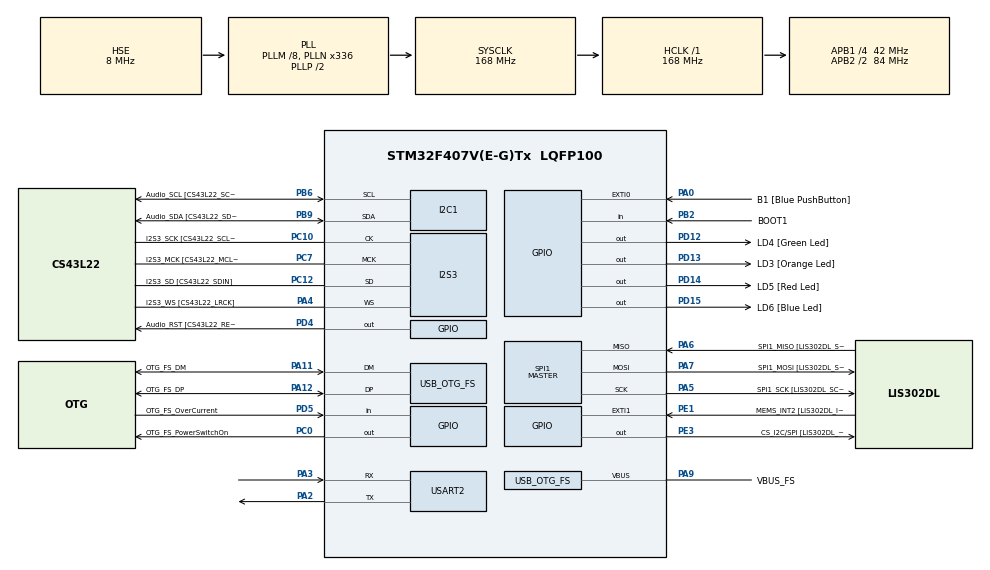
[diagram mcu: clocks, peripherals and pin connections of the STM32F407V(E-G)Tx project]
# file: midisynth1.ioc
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PA11.GPIO_Speed=GPIO_SPEED_FREQ_LOW
Dma.SPI3_TX.0.FIFOMode=DMA_FIFOMODE_ENABLE
Dma.SPI3_TX.0.Priority=DMA_PRIORITY_LOW
PD12.GPIO_Label=LD4 [Green Led]
PH0-OSC_IN.Signal=RCC_OSC_IN
PC10.GPIO_PuPd=GPIO_NOPULL
SPI1.VirtualType=VM_MASTER
PB10.GPIO_PuPd=GPIO_NOPULL
PA10.GPIO_PuPd=GPIO_NOPULL
PC12.Signal=I2S3_SD
PA14.GPIO_Label=SWCLK
PA6.GPIO_Label=SPI1_MISO [LIS302DL_SDO]
PB6.GPIO_Label=Audio_SCL [CS43L22_SCL]
PC15-OSC32_OUT.GPIO_Label=PC15-OSC32_OUT
PC3.GPIO_Speed=GPIO_SPEED_FREQ_LOW
RCC.SYSCLKSource=RCC_SYSCLKSOURCE_PLLCLK
PA6.GPIO_Mode=GPIO_MODE_AF_PP
Dma.SPI3_TX.0.FIFOThreshold=DMA_FIFO_THRESHOLD_HALFFULL
PD14.GPIO_Speed=GPIO_SPEED_FREQ_LOW
PA4.Mode=Half_Duplex_Master
SPI1.Direction=SPI_DIRECTION_2LINES
I2S3.AudioFreq-Half_Duplex_Master=I2S_AUDIOFREQ_96K
PD4.Signal=GPIO_Output
RCC.APB2TimFreq_Value=168000000
PB6.Signal=I2C1_SCL
PC7.Signal=I2S3_MCK
PB6.Mode=I2C
PC3.Signal=I2S2_SD
PE1.Signal=GPXTI1
Dma.SPI3_TX.0.Direction=DMA_MEMORY_TO_PERIPH
USB_OTG_FS.phy_itface=HCD_PHY_EMBEDDED
PB2.Signal=GPIO_Input
I2S3.ErrorAudioFreq=-2.34 %
PA5.GPIO_PuPd=GPIO_NOPULL
I2S3.ErrorAudioFreq-Half_Duplex_Master=0.8 %
PD5.GPIO_Mode=GPIO_MODE_INPUT
PD14.GPIO_PuPd=GPIO_NOPULL
PB2.GPIO_PuPd=GPIO_NOPULL
SPI1.CalculateBaudRate-Full_Duplex_Master=42.0 MBits/s
Mcu.Package=LQFP100
PB9.Signal=I2C1_SDA
PD12.Signal=GPIO_Output
PB9.GPIO_PuPd=GPIO_NOPULL
PA10.Signal=USB_OTG_FS_ID
RCC.APB2CLKDivider=RCC_HCLK_DIV2
RCC.APB1TimFreq_Value=84000000
PC12.GPIO_PuPd=GPIO_NOPULL
PA6.GPIO_Speed=GPIO_SPEED_FREQ_LOW
PA12.GPIO_PuPd=GPIO_NOPULL
PA4.GPIO_Label=I2S3_WS [CS43L22_LRCK]
PD15.Signal=GPIO_Output
PC0.PinState=GPIO_PIN_SET
PA5.Mode=Full_Duplex_Master
I2S3.FullDuplexMode=I2S_FULLDUPLEXMODE_DISABLE
PA9.GPIO_Label=VBUS_FS
PB6.GPIO_PuPd=GPIO_NOPULL
PA11.GPIO_Label=OTG_FS_DM
PE1.GPIO_PuPd=GPIO_NOPULL
PC0.Signal=GPIO_Output
RCC.APB1CLKDivider=RCC_HCLK_DIV4
PC14-OSC32_IN.Signal=RCC_OSC32_IN
PA0-WKUP.GPIO_ModeDefaultEXTI=GPIO_MODE_EVT_RISING
PA0-WKUP.GPIO_Label=B1 [Blue PushButton]
PA0-WKUP.Signal=GPXTI0
USB_HOST0.BSP.STBoard=false
PA3.Mode=Asynchronous
PC10.GPIO_Mode=GPIO_MODE_AF_PP
PB10.GPIO_Mode=GPIO_MODE_AF_PP
PA9.Signal=USB_OTG_FS_VBUS
I2S3.VirtualMode=I2S_MODE_MASTER
Dma.SPI3_TX.0.PeriphInc=DMA_PINC_DISABLE
PC7.GPIO_PuPd=GPIO_NOPULL
PB10.Signal=I2S2_CK
PA5.Signal=SPI1_SCK
I2S3.AudioFreq=I2S_AUDIOFREQ_48K
PC12.Mode=Half_Duplex_Master
PE1.GPIO_Label=MEMS_INT2 [LIS302DL_INT2]
USB_HOST.VirtualModeFS=Audio
PA7.GPIO_Speed=GPIO_SPEED_FREQ_LOW
PB2.GPIO_Mode=GPIO_MODE_INPUT
SPI1.Mode=SPI_MODE_MASTER
PD4.GPIO_Speed=GPIO_SPEED_FREQ_LOW
PE3.GPIO_PuPd=GPIO_NOPULL
PH1-OSC_OUT.GPIO_Label=PH1-OSC_OUT
Dma.SPI3_TX.0.Instance=DMA1_Stream5
PA13.Mode=Serial_Wire
PC7.GPIO_Label=I2S3_MCK [CS43L22_MCLK]
PA4.Signal=I2S3_WS
PC12.GPIO_Mode=GPIO_MODE_AF_PP
PA5.GPIO_Label=SPI1_SCK [LIS302DL_SCL/SPC]
Dma.SPI3_TX.0.Mode=DMA_CIRCULAR
PE3.GPIO_Speed=GPIO_SPEED_FREQ_LOW
PC12.GPIO_Label=I2S3_SD [CS43L22_SDIN]
PA11.Signal=USB_OTG_FS_DM
ProjectManager.HeapSize=0x200
NVIC.PriorityGroup=NVIC_PRIORITYGROUP_0
PE3.Signal=GPIO_Output
PC3.GPIO_Label=PDM_OUT [MP45DT02_DOUT]
PA0-WKUP.GPIO_PuPd=GPIO_NOPULL
I2S3.Instance=SPI$Index
PB6.GPIO_Speed=GPIO_SPEED_FREQ_LOW
SPI1.BaudRatePrescaler-Full_Duplex_Master=SPI_BAUDRATEPRESCALER_2
USB_HOST0.BSP.mode=Output
Mcu.Family=STM32F4
PC3.GPIO_Mode=GPIO_MODE_AF_PP
Dma.SPI3_TX.0.MemInc=DMA_MINC_ENABLE
PA6.Mode=Full_Duplex_Master
RCC.CortexFreq_Value=168000000
PB10.GPIO_Speed=GPIO_SPEED_FREQ_LOW
PB6.GPIO_Mode=GPIO_MODE_AF_OD
PD15.GPIO_Speed=GPIO_SPEED_FREQ_LOW
PC10.Signal=I2S3_CK
PA7.GPIO_Mode=GPIO_MODE_AF_PP
PC0.GPIO_Label=OTG_FS_PowerSwitchOn
PA11.Mode=Host_Only
PC10.GPIO_Speed=GPIO_SPEED_FREQ_LOW
PA11.GPIO_PuPd=GPIO_NOPULL
Dma.SPI3_TX.0.PeriphDataAlignment=DMA_PDATAALIGN_HALFWORD
ProjectManager.StackSize=0x400
SPI1.Mode-Full_Duplex_Master=SPI_MODE_MASTER
PD13.Signal=GPIO_Output
PA12.Signal=USB_OTG_FS_DP
RCC.HCLKFreq_Value=168000000
USB_HOST0.BSP.ip=GPIO
RCC.AHBFreq_Value=168000000
PH0-OSC_IN.Mode=HSE-External-Oscillator
PH0-OSC_IN.GPIO_Label=PH0-OSC_IN
PA9.GPIO_Mode=GPIO_MODE_INPUT
RCC.HSE_VALUE=8000000
PA4.GPIO_PuPd=GPIO_NOPULL
PA4.GPIO_Speed=GPIO_SPEED_FREQ_LOW
PA6.GPIO_PuPd=GPIO_NOPULL
PC14-OSC32_IN.Mode=LSE-External-Oscillator
PA14.Mode=Serial_Wire
PA10.GPIO_Label=OTG_FS_ID
PC7.GPIO_Mode=GPIO_MODE_AF_PP
USB_HOST0.BSP.i2creg=0
Dma.SPI3_TX.0.MemDataAlignment=DMA_MDATAALIGN_HALFWORD
PH1-OSC_OUT.Mode=HSE-External-Oscillator
USB_HOST0.BSP.i2caddr=0
PD13.GPIO_Label=LD3 [Orange Led]
PA6.Signal=SPI1_MISO
USART2.VirtualMode=VM_ASYNC
PD5.GPIO_Label=OTG_FS_OverCurrent
NVIC.OTG_FS_IRQn=true\:0\:0\:false\:false\:true\:true\:true
PD15.GPIO_PuPd=GPIO_NOPULL
VP_USB_HOST_VS_USB_HOST_AUDIO_FS.Mode=AUDIO_FS
USB_OTG_FS.VirtualMode=Host_Only
PA10.GPIO_Speed=GPIO_SPEED_FREQ_LOW
USB_HOST0.BSP.name=Drive_VBUS_FS
PB9.GPIO_Speed=GPIO_SPEED_FREQ_LOW
PC14-OSC32_IN.GPIO_Label=PC14-OSC32_IN
PC0.GPIO_PuPd=GPIO_NOPULL
Dma.Request0=SPI3_TX
PA12.GPIO_Speed=GPIO_SPEED_FREQ_LOW
PA3.Signal=USART2_RX
PB3.GPIO_Label=SWO
PC15-OSC32_OUT.Mode=LSE-External-Oscillator
PD12.GPIO_Speed=GPIO_SPEED_FREQ_LOW
PD15.GPIO_Label=LD6 [Blue Led]
PA7.Mode=Full_Duplex_Master
PB9.GPIO_Label=Audio_SDA [CS43L22_SDA]
PC10.GPIO_Label=I2S3_SCK [CS43L22_SCLK]
USB_HOST0.BSP.solution=PC0
PC10.Mode=Half_Duplex_Master
USB_HOST.BSP.number=1
PD5.Signal=GPIO_Input
PE1.GPIO_ModeDefaultEXTI=GPIO_MODE_EVT_RISING
PA9.GPIO_PuPd=GPIO_NOPULL
PA12.GPIO_Label=OTG_FS_DP
PA10.GPIO_Mode=GPIO_MODE_AF_PP
PA13.Signal=SYS_JTMS-SWDIO
Dma.SPI3_TX.0.PeriphBurst=DMA_PBURST_SINGLE
PD4.GPIO_PuPd=GPIO_NOPULL
PA9.Mode=Activate_VBUS
PC0.GPIO_Speed=GPIO_SPEED_FREQ_LOW
I2S3.RealAudioFreq-Half_Duplex_Master=96.774 KHz
ProjectManager.TargetToolchain=STM32CubeIDE
PB10.GPIO_Label=CLK_IN [MP45DT02_CLK]
NVIC.DMA1_Stream5_IRQn=true\:0\:0\:false\:false\:true\:false\:true
PB9.Mode=I2C
PC15-OSC32_OUT.Signal=RCC_OSC32_OUT
PA7.GPIO_PuPd=GPIO_NOPULL
board=STM32F407G-DISC1
PD13.GPIO_Speed=GPIO_SPEED_FREQ_LOW
PC7.GPIO_Speed=GPIO_SPEED_FREQ_LOW
RCC.VCOOutputFreq_Value=336000000
PB9.GPIO_Mode=GPIO_MODE_AF_OD
PA12.GPIO_Mode=GPIO_MODE_AF_PP
PA4.GPIO_Mode=GPIO_MODE_AF_PP
RCC.APB2Freq_Value=84000000
USB_HOST0.BSP.api=Unknown
PD4.GPIO_Label=Audio_RST [CS43L22_RESET]
USB_HOST.USBH_HandleTypeDef-AUDIO_FS=hUsbHostFS
PH1-OSC_OUT.Signal=RCC_OSC_OUT
PD13.GPIO_PuPd=GPIO_NOPULL
PD5.GPIO_PuPd=GPIO_NOPULL
PD14.GPIO_Label=LD5 [Red Led]
Mcu.Name=STM32F407V(E-G)Tx
PA2.Signal=USART2_TX
PA13.GPIO_Label=SWDIO
PD14.Signal=GPIO_Output
RCC.48MHZClocksFreq_Value=48000000
PB3.Signal=SYS_JTDO-SWO
RCC.SYSCLKFreq_VALUE=168000000
PA7.GPIO_Label=SPI1_MOSI [LIS302DL_SDA/SDI/SDO]
PA12.Mode=Host_Only
PA14.Signal=SYS_JTCK-SWCLK
PB2.GPIO_Label=BOOT1
RCC.HSI_VALUE=16000000
PA5.GPIO_Speed=GPIO_SPEED_FREQ_LOW
RCC.PLLQ=7
I2S3.RealAudioFreq=46.875 KHz
RCC.PLLM=8
RCC.PLLN=336
PA2.Mode=Asynchronous
PE3.GPIO_Label=CS_I2C/SPI [LIS302DL_CS_I2C/SPI]
Dma.SPI3_TX.0.MemBurst=DMA_MBURST_SINGLE
PC7.Mode=Master_Clock_Activated
PA11.GPIO_Mode=GPIO_MODE_AF_PP
RCC.APB1Freq_Value=42000000
PA5.GPIO_Mode=GPIO_MODE_AF_PP
PC12.GPIO_Speed=GPIO_SPEED_FREQ_LOW
PC3.GPIO_PuPd=GPIO_NOPULL
PD12.GPIO_PuPd=GPIO_NOPULL
PA7.Signal=SPI1_MOSI
USB_HOST0.BSP.instance=PC0

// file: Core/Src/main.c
/* USER CODE BEGIN Header */
/**
 *
 * Copyright (c) 2021 Roger Allen.  Some portions generated by
 * STMicroelectronics, see below.
 *
  ******************************************************************************
  * @file           : main.c
  * @brief          : Main program body
  ******************************************************************************
  * @attention
  *
  * <h2><center>&copy; Copyright (c) 2021 STMicroelectronics.
  * All rights reserved.</center></h2>
  *
  * This software component is licensed by ST under Ultimate Liberty license
  * SLA0044, the "License"; You may not use this file except in compliance with
  * the License. You may obtain a copy of the License at:
  *                             www.st.com/SLA0044
  *
  ******************************************************************************
  */
/* USER CODE END Header */
#include "main.h"
#include "usb_host.h"

/* USER CODE BEGIN Includes */

#include "midisynth.h"
#include "synth.h"
#include "../../Drivers/USBH_midi_class/Inc/usbh_MIDI.h"
#include <stdarg.h>
#include <stdio.h>
#include <string.h>

/* USER CODE END Includes */

I2C_HandleTypeDef hi2c1;

I2S_HandleTypeDef hi2s3;
DMA_HandleTypeDef hdma_spi3_tx;

SPI_HandleTypeDef hspi1;

UART_HandleTypeDef huart2;

/* USER CODE BEGIN PV */

extern USBH_HandleTypeDef hUsbHostFS;
extern ApplicationTypeDef Appli_state;
extern synth_state_t the_synth;

/* USER CODE END PV */

void SystemClock_Config(void);
static void MX_GPIO_Init(void);
static void MX_DMA_Init(void);
static void MX_I2C1_Init(void);
static void MX_I2S3_Init(void);
static void MX_SPI1_Init(void);
static void MX_USART2_UART_Init(void);
void MX_USB_HOST_Process(void);

/* USER CODE BEGIN PFP */

void update_state(void);

/* USER CODE END PFP */

/* USER CODE BEGIN 0 */

int __io_putchar(int ch) {
  HAL_UART_Transmit(&huart2, (uint8_t *)&ch, 1, 0xFFFF);
  return ch;
}

// Without syscall.c integrated, a customized _write function has to be defined:
int _write(int file, char *ptr, int len)
{
  for(int i = 0; i < len; i++){
    __io_putchar( *ptr++ );
  }
  return len;
}

// lots of "answers" & this seems like the only one that works
// via https://www.openstm32.org/forumthread5466
int _read (int file, char *ptr, int len)
{
  HAL_UART_Receive(&huart2,(uint8_t*)ptr++,1,0xffff);
  HAL_UART_Transmit(&huart2,(uint8_t *)(ptr-1),1,10);
  if (*(ptr-1) == '\r'){
    HAL_UART_Transmit(&huart2,(uint8_t *)"\n",1,10);
    *(ptr-1) = '\n';
  }
  return 1;
}

/* USER CODE END 0 */

int main(void)
{
  /* USER CODE BEGIN 1 */

  // keep track of the current note & led index
  ApplicationTypeDef last_Appli_state = Appli_state;
  /* USER CODE END 1 */

  /* MCU Configuration--------------------------------------------------------*/

  /* Reset of all peripherals, Initializes the Flash interface and the Systick. */
  HAL_Init();

  /* Configure the system clock */
  SystemClock_Config();

  /* Initialize all configured peripherals */
  MX_GPIO_Init();
  MX_DMA_Init();
  MX_I2C1_Init();
  MX_I2S3_Init();
  MX_SPI1_Init();
  MX_USB_HOST_Init();
  MX_USART2_UART_Init();
  /* USER CODE BEGIN 2 */

  // just once at the beginning, start the first reception

  printf("==============================================\r\n");
  synth_init();

  /* USER CODE END 2 */

  /* Infinite loop */
  while (1)
  {
    MX_USB_HOST_Process();

    /* USER CODE BEGIN 3 */
    if(last_Appli_state != Appli_state) {
      printf("USB Application State: %d\r\n", Appli_state);
      last_Appli_state = Appli_state;

      if(Appli_state == APPLICATION_READY) {
        start_midi();
        printf("Midisynth Started ----------------------------\r\n");
      }

    }
    update_state();

  }
  /* USER CODE END 3 */
}

void SystemClock_Config(void)
{
  RCC_OscInitTypeDef RCC_OscInitStruct = {0};
  RCC_ClkInitTypeDef RCC_ClkInitStruct = {0};
  RCC_PeriphCLKInitTypeDef PeriphClkInitStruct = {0};

  /** Configure the main internal regulator output voltage
  */
  __HAL_RCC_PWR_CLK_ENABLE();
  __HAL_PWR_VOLTAGESCALING_CONFIG(PWR_REGULATOR_VOLTAGE_SCALE1);
  /** Initializes the RCC Oscillators according to the specified parameters
  * in the RCC_OscInitTypeDef structure.
  */
  RCC_OscInitStruct.OscillatorType = RCC_OSCILLATORTYPE_HSE;
  RCC_OscInitStruct.HSEState = RCC_HSE_ON;
  RCC_OscInitStruct.PLL.PLLState = RCC_PLL_ON;
  RCC_OscInitStruct.PLL.PLLSource = RCC_PLLSOURCE_HSE;
  RCC_OscInitStruct.PLL.PLLM = 8;
  RCC_OscInitStruct.PLL.PLLN = 336;
  RCC_OscInitStruct.PLL.PLLP = RCC_PLLP_DIV2;
  RCC_OscInitStruct.PLL.PLLQ = 7;
  if (HAL_RCC_OscConfig(&RCC_OscInitStruct) != HAL_OK)
  {
    Error_Handler();
  }
  /** Initializes the CPU, AHB and APB buses clocks
  */
  RCC_ClkInitStruct.ClockType = RCC_CLOCKTYPE_HCLK|RCC_CLOCKTYPE_SYSCLK
                              |RCC_CLOCKTYPE_PCLK1|RCC_CLOCKTYPE_PCLK2;
  RCC_ClkInitStruct.SYSCLKSource = RCC_SYSCLKSOURCE_PLLCLK;
  RCC_ClkInitStruct.AHBCLKDivider = RCC_SYSCLK_DIV1;
  RCC_ClkInitStruct.APB1CLKDivider = RCC_HCLK_DIV4;
  RCC_ClkInitStruct.APB2CLKDivider = RCC_HCLK_DIV2;

  if (HAL_RCC_ClockConfig(&RCC_ClkInitStruct, FLASH_LATENCY_5) != HAL_OK)
  {
    Error_Handler();
  }
  PeriphClkInitStruct.PeriphClockSelection = RCC_PERIPHCLK_I2S;
  PeriphClkInitStruct.PLLI2S.PLLI2SN = 192;
  PeriphClkInitStruct.PLLI2S.PLLI2SR = 2;
  if (HAL_RCCEx_PeriphCLKConfig(&PeriphClkInitStruct) != HAL_OK)
  {
    Error_Handler();
  }
}

static void MX_I2C1_Init(void)
{

  hi2c1.Instance = I2C1;
  hi2c1.Init.ClockSpeed = 100000;
  hi2c1.Init.DutyCycle = I2C_DUTYCYCLE_2;
  hi2c1.Init.OwnAddress1 = 0;
  hi2c1.Init.AddressingMode = I2C_ADDRESSINGMODE_7BIT;
  hi2c1.Init.DualAddressMode = I2C_DUALADDRESS_DISABLE;
  hi2c1.Init.OwnAddress2 = 0;
  hi2c1.Init.GeneralCallMode = I2C_GENERALCALL_DISABLE;
  hi2c1.Init.NoStretchMode = I2C_NOSTRETCH_DISABLE;
  if (HAL_I2C_Init(&hi2c1) != HAL_OK)
  {
    Error_Handler();
  }

}

static void MX_I2S3_Init(void)
{

  hi2s3.Instance = SPI3;
  hi2s3.Init.Mode = I2S_MODE_MASTER_TX;
  hi2s3.Init.Standard = I2S_STANDARD_PHILIPS;
  hi2s3.Init.DataFormat = I2S_DATAFORMAT_16B;
  hi2s3.Init.MCLKOutput = I2S_MCLKOUTPUT_ENABLE;
  hi2s3.Init.AudioFreq = I2S_AUDIOFREQ_48K;
  hi2s3.Init.CPOL = I2S_CPOL_LOW;
  hi2s3.Init.ClockSource = I2S_CLOCK_PLL;
  hi2s3.Init.FullDuplexMode = I2S_FULLDUPLEXMODE_DISABLE;
  if (HAL_I2S_Init(&hi2s3) != HAL_OK)
  {
    Error_Handler();
  }

}

static void MX_SPI1_Init(void)
{

  /* SPI1 parameter configuration*/
  hspi1.Instance = SPI1;
  hspi1.Init.Mode = SPI_MODE_MASTER;
  hspi1.Init.Direction = SPI_DIRECTION_2LINES;
  hspi1.Init.DataSize = SPI_DATASIZE_8BIT;
  hspi1.Init.CLKPolarity = SPI_POLARITY_LOW;
  hspi1.Init.CLKPhase = SPI_PHASE_1EDGE;
  hspi1.Init.NSS = SPI_NSS_SOFT;
  hspi1.Init.BaudRatePrescaler = SPI_BAUDRATEPRESCALER_2;
  hspi1.Init.FirstBit = SPI_FIRSTBIT_MSB;
  hspi1.Init.TIMode = SPI_TIMODE_DISABLE;
  hspi1.Init.CRCCalculation = SPI_CRCCALCULATION_DISABLE;
  hspi1.Init.CRCPolynomial = 10;
  if (HAL_SPI_Init(&hspi1) != HAL_OK)
  {
    Error_Handler();
  }

}

static void MX_USART2_UART_Init(void)
{

  huart2.Instance = USART2;
  huart2.Init.BaudRate = 115200;
  huart2.Init.WordLength = UART_WORDLENGTH_8B;
  huart2.Init.StopBits = UART_STOPBITS_1;
  huart2.Init.Parity = UART_PARITY_NONE;
  huart2.Init.Mode = UART_MODE_TX_RX;
  huart2.Init.HwFlowCtl = UART_HWCONTROL_NONE;
  huart2.Init.OverSampling = UART_OVERSAMPLING_16;
  if (HAL_UART_Init(&huart2) != HAL_OK)
  {
    Error_Handler();
  }

}

static void MX_DMA_Init(void)
{

  /* DMA controller clock enable */
  __HAL_RCC_DMA1_CLK_ENABLE();

  /* DMA interrupt init */
  /* DMA1_Stream5_IRQn interrupt configuration */
  HAL_NVIC_SetPriority(DMA1_Stream5_IRQn, 0, 0);
  HAL_NVIC_EnableIRQ(DMA1_Stream5_IRQn);

}

static void MX_GPIO_Init(void)
{
  GPIO_InitTypeDef GPIO_InitStruct = {0};

  /* GPIO Ports Clock Enable */
  __HAL_RCC_GPIOE_CLK_ENABLE();
  __HAL_RCC_GPIOC_CLK_ENABLE();
  __HAL_RCC_GPIOH_CLK_ENABLE();
  __HAL_RCC_GPIOA_CLK_ENABLE();
  __HAL_RCC_GPIOB_CLK_ENABLE();
  __HAL_RCC_GPIOD_CLK_ENABLE();

  /*Configure GPIO pin Output Level */
  HAL_GPIO_WritePin(CS_I2C_SPI_GPIO_Port, CS_I2C_SPI_Pin, GPIO_PIN_RESET);

  /*Configure GPIO pin Output Level */
  HAL_GPIO_WritePin(OTG_FS_PowerSwitchOn_GPIO_Port, OTG_FS_PowerSwitchOn_Pin, GPIO_PIN_SET);

  /*Configure GPIO pin Output Level */
  HAL_GPIO_WritePin(GPIOD, LD4_Pin|LD3_Pin|LD5_Pin|LD6_Pin
                          |Audio_RST_Pin, GPIO_PIN_RESET);

  /*Configure GPIO pin : CS_I2C_SPI_Pin */
  GPIO_InitStruct.Pin = CS_I2C_SPI_Pin;
  GPIO_InitStruct.Mode = GPIO_MODE_OUTPUT_PP;
  GPIO_InitStruct.Pull = GPIO_NOPULL;
  GPIO_InitStruct.Speed = GPIO_SPEED_FREQ_LOW;
  HAL_GPIO_Init(CS_I2C_SPI_GPIO_Port, &GPIO_InitStruct);

  /*Configure GPIO pin : OTG_FS_PowerSwitchOn_Pin */
  GPIO_InitStruct.Pin = OTG_FS_PowerSwitchOn_Pin;
  GPIO_InitStruct.Mode = GPIO_MODE_OUTPUT_PP;
  GPIO_InitStruct.Pull = GPIO_NOPULL;
  GPIO_InitStruct.Speed = GPIO_SPEED_FREQ_LOW;
  HAL_GPIO_Init(OTG_FS_PowerSwitchOn_GPIO_Port, &GPIO_InitStruct);

  /*Configure GPIO pin : PDM_OUT_Pin */
  GPIO_InitStruct.Pin = PDM_OUT_Pin;
  GPIO_InitStruct.Mode = GPIO_MODE_AF_PP;
  GPIO_InitStruct.Pull = GPIO_NOPULL;
  GPIO_InitStruct.Speed = GPIO_SPEED_FREQ_LOW;
  GPIO_InitStruct.Alternate = GPIO_AF5_SPI2;
  HAL_GPIO_Init(PDM_OUT_GPIO_Port, &GPIO_InitStruct);

  /*Configure GPIO pin : B1_Pin */
  GPIO_InitStruct.Pin = B1_Pin;
  GPIO_InitStruct.Mode = GPIO_MODE_EVT_RISING;
  GPIO_InitStruct.Pull = GPIO_NOPULL;
  HAL_GPIO_Init(B1_GPIO_Port, &GPIO_InitStruct);

  /*Configure GPIO pin : BOOT1_Pin */
  GPIO_InitStruct.Pin = BOOT1_Pin;
  GPIO_InitStruct.Mode = GPIO_MODE_INPUT;
  GPIO_InitStruct.Pull = GPIO_NOPULL;
  HAL_GPIO_Init(BOOT1_GPIO_Port, &GPIO_InitStruct);

  /*Configure GPIO pin : CLK_IN_Pin */
  GPIO_InitStruct.Pin = CLK_IN_Pin;
  GPIO_InitStruct.Mode = GPIO_MODE_AF_PP;
  GPIO_InitStruct.Pull = GPIO_NOPULL;
  GPIO_InitStruct.Speed = GPIO_SPEED_FREQ_LOW;
  GPIO_InitStruct.Alternate = GPIO_AF5_SPI2;
  HAL_GPIO_Init(CLK_IN_GPIO_Port, &GPIO_InitStruct);

  /*Configure GPIO pins : LD4_Pin LD3_Pin LD5_Pin LD6_Pin
                           Audio_RST_Pin */
  GPIO_InitStruct.Pin = LD4_Pin|LD3_Pin|LD5_Pin|LD6_Pin
                          |Audio_RST_Pin;
  GPIO_InitStruct.Mode = GPIO_MODE_OUTPUT_PP;
  GPIO_InitStruct.Pull = GPIO_NOPULL;
  GPIO_InitStruct.Speed = GPIO_SPEED_FREQ_LOW;
  HAL_GPIO_Init(GPIOD, &GPIO_InitStruct);

  /*Configure GPIO pin : OTG_FS_OverCurrent_Pin */
  GPIO_InitStruct.Pin = OTG_FS_OverCurrent_Pin;
  GPIO_InitStruct.Mode = GPIO_MODE_INPUT;
  GPIO_InitStruct.Pull = GPIO_NOPULL;
  HAL_GPIO_Init(OTG_FS_OverCurrent_GPIO_Port, &GPIO_InitStruct);

  /*Configure GPIO pin : MEMS_INT2_Pin */
  GPIO_InitStruct.Pin = MEMS_INT2_Pin;
  GPIO_InitStruct.Mode = GPIO_MODE_EVT_RISING;
  GPIO_InitStruct.Pull = GPIO_NOPULL;
  HAL_GPIO_Init(MEMS_INT2_GPIO_Port, &GPIO_InitStruct);

}

/* USER CODE BEGIN 4 */

// ======================================================================
// read the user button & on edges, update the LEDs, cur_note_hz, cur_volume
void update_state(void)
{

  static GPIO_PinState last_user_button_state = GPIO_PIN_RESET;

  GPIO_PinState user_button_state = HAL_GPIO_ReadPin(B1_GPIO_Port, B1_Pin);
  if((last_user_button_state == GPIO_PIN_RESET) &&
     (user_button_state == GPIO_PIN_SET)) {
    HAL_GPIO_WritePin(LED_Port, ORANGE_LED, GPIO_PIN_SET);
    synth_all_notes_off();

    printf("begin edit mode\r\n");
    printf("{\r\n");
    printf("  wave      = %d\r\n", the_synth.wave);
    printf("  voices    = %d\r\n", the_synth.voices);
    printf("  attack    = %.0f\r\n", 1000*the_synth.attack);
    printf("  decay     = %.0f\r\n", 1000*the_synth.decay);
    printf("  sustain   = %.0f\r\n", 1000*the_synth.sustain);
    printf("  release   = %.0f\r\n", 1000*the_synth.release);
    printf("  scale     = %.0f\r\n", 1000*the_synth.scale);
    printf("  cutoff    = %.0f\r\n", the_synth.cutoff);
    printf("  resonance = %.0f\r\n", the_synth.resonance);
    printf("  wet       = %.0f\r\n", 1000*the_synth.wet);
    printf("  delay     = %.0f\r\n", 1000*the_synth.delay);
    printf("}\r\n");

    printf("Enter 'variable value' (e.g. 'attack 500').\r\nEnd edit mode with '.' \r\n");
    char cmd[32];
    int v = 0;
    int done = 0;
    do {
      scanf("%s", &(cmd[0]));
      //printf("\r\ncmd-%s-\r\n", cmd);
      if (strncmp(&(cmd[0]), ".", 1) == 0) {
        done = 1;
      } else {
        scanf("%d", &v);
        //printf("\r\nval-%d-\r\n", v);
        if (strncmp(&(cmd[0]), "wave", 4) == 0) {
          set_wave(v);
        } else if (strncmp(&(cmd[0]), "voices", 4) == 0) {
          set_voices(v);
        } else if (strncmp(&(cmd[0]), "attack", 4) == 0) {
          set_attack(v/1000.0);
        } else if (strncmp(&(cmd[0]), "decay", 4) == 0) {
          set_decay(v/1000.0);
        } else if (strncmp(&(cmd[0]), "sustain", 4) == 0) {
          set_sustain(v/1000.0);
        } else if (strncmp(&(cmd[0]), "release", 4) == 0) {
          set_release(v/1000.0);
        } else if (strncmp(&(cmd[0]), "scale", 4) == 0) {
          set_scale(v/1000.0);
        } else if (strncmp(&(cmd[0]), "cutoff", 4) == 0) {
          set_cutoff(v);
        } else if (strncmp(&(cmd[0]), "resonance", 4) == 0) {
          set_resonance(v);
        } else if (strncmp(&(cmd[0]), "wet", 3) == 0) {
          set_wet(v/1000.0);
        } else if (strncmp(&(cmd[0]), "delay", 4) == 0) {
          set_delay(v/1000.0);
        } else {
          printf("unknown cmd: %s %d\r\n", cmd, v);
        }
      }
    } while (!done);
    printf("\r\ndone.\r\n");
    HAL_GPIO_WritePin(LED_Port, ORANGE_LED, GPIO_PIN_RESET);
  }
  last_user_button_state = GPIO_PIN_RESET;

}

/* USER CODE END 4 */

void Error_Handler(void)
{
  /* USER CODE BEGIN Error_Handler_Debug */
  printf("ERROR HANDLER!!!\r\n");
  /* User can add his own implementation to report the HAL error return state */
  __disable_irq();
  while (1)
  {
  }
  /* USER CODE END Error_Handler_Debug */
}

/************************ (C) COPYRIGHT STMicroelectronics *****END OF FILE****/
